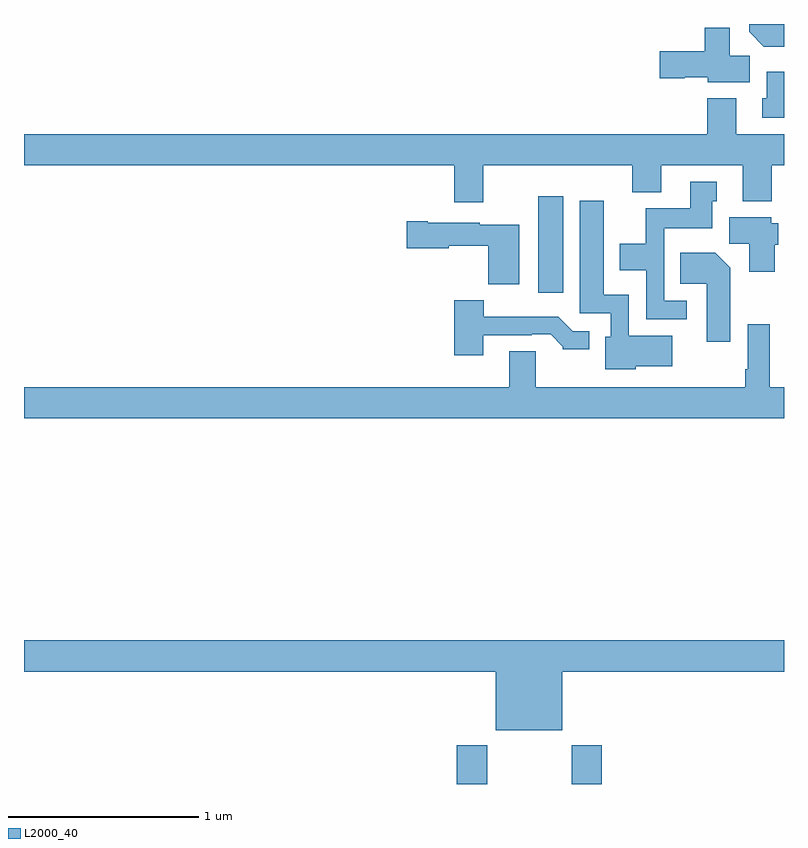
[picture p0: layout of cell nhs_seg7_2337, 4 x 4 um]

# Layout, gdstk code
import gdstk
lib = gdstk.Library(unit=1e-6, precision=1e-09)
def R(c, l, rs):  # rectangles x0, y0, x1, y1
    for r in rs: c.add(gdstk.rectangle(r[:2], r[2:], *l))
def P(c, l, *ps):  # polygons
    for p in ps: c.add(gdstk.Polygon(p, *l))
L2000_40 = (2000, 40)

nhs_seg7_2337 = lib.new_cell('nhs_seg7_2337')
R(nhs_seg7_2337, L2000_40, [(265.277,1024,265.437,1024.204), (265.882,1024,266.042,1024.204), (265.706,1026.585,265.837,1027.093)])
P(nhs_seg7_2337, L2000_40, [(267,1028),(266.816,1028),(266.816,1027.958),(266.894,1027.88),(267,1027.88)],
  [(266.821,1027.832),(266.714,1027.832),(266.714,1027.981),(266.582,1027.981),(266.582,1027.856),(266.346,1027.856),(266.346,1027.714),(266.478,1027.714),(266.478,1027.721),(266.598,1027.721),(266.598,1027.694),(266.821,1027.694)],
  [(267,1027.75),(266.909,1027.75),(266.909,1027.608),(266.885,1027.608),(266.885,1027.506),(267,1027.506)],
  [(265.417,1027.256),(266.201,1027.256),(266.201,1027.115),(266.353,1027.115),(266.353,1027.256),(266.783,1027.256),(266.783,1027.067),(266.936,1027.067),(266.936,1027.256),(267,1027.256),(267,1027.42),(266.749,1027.42),(266.749,1027.609),(266.597,1027.609),(266.597,1027.42),(263,1027.42),(263,1027.256),(265.265,1027.256),(265.265,1027.062),(265.417,1027.062)],
  [(266.488,1026.543),(266.37,1026.543),(266.37,1026.926),(266.623,1026.926),(266.623,1027.068),(266.647,1027.068),(266.647,1027.171),(266.507,1027.171),(266.507,1027.03),(266.272,1027.03),(266.272,1026.844),(266.135,1026.844),(266.135,1026.704),(266.274,1026.704),(266.274,1026.447),(266.488,1026.447)],
  [(266.22,1026.2),(266.413,1026.2),(266.413,1026.358),(266.184,1026.358),(266.184,1026.574),(266.05,1026.574),(266.05,1027.069),(265.925,1027.069),(265.925,1026.477),(266.088,1026.477),(266.088,1026.354),(266.06,1026.354),(266.06,1026.182),(266.22,1026.182)],
  [(266.951,1026.837),(266.969,1026.837),(266.969,1026.951),(266.934,1026.951),(266.934,1026.982),(266.711,1026.982),(266.711,1026.844),(266.816,1026.844),(266.816,1026.696),(266.951,1026.696)],
  [(265.606,1026.943),(265.398,1026.943),(265.398,1026.955),(265.126,1026.955),(265.126,1026.963),(265.014,1026.963),(265.014,1026.821),(265.236,1026.821),(265.236,1026.833),(265.444,1026.833),(265.444,1026.629),(265.606,1026.629)],
  [(266.716,1026.718),(266.638,1026.796),(266.455,1026.796),(266.455,1026.632),(266.594,1026.632),(266.594,1026.327),(266.716,1026.327)],
  [(265.417,1026.363),(265.673,1026.363),(265.673,1026.366),(265.772,1026.366),(265.836,1026.302),(265.836,1026.287),(265.975,1026.287),(265.975,1026.384),(265.887,1026.384),(265.811,1026.46),(265.42,1026.46),(265.42,1026.547),(265.265,1026.547),(265.265,1026.257),(265.417,1026.257)],
  [(267,1026.088),(266.924,1026.088),(266.924,1026.421),(266.808,1026.421),(266.808,1026.184),(266.796,1026.184),(266.796,1026.088),(265.693,1026.088),(265.693,1026.278),(265.553,1026.278),(265.553,1026.088),(263,1026.088),(263,1025.924),(267,1025.924)],
  [(265.834,1024.592),(267,1024.592),(267,1024.756),(263,1024.756),(263,1024.592),(265.484,1024.592),(265.484,1024.283),(265.834,1024.283)])

lib.write_gds('nhs_seg7_2337.gds')
